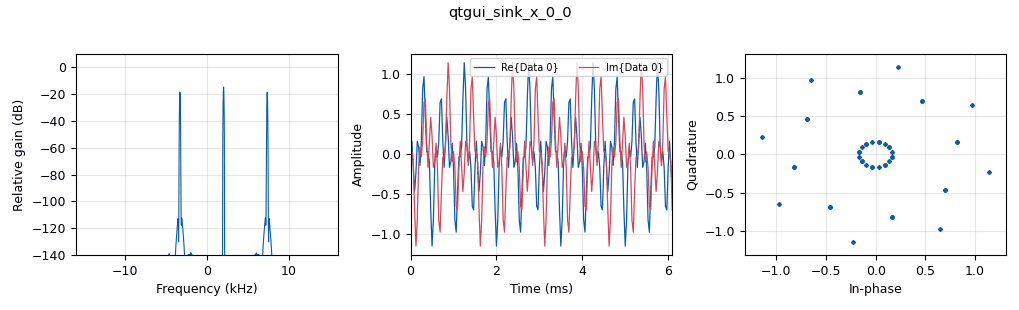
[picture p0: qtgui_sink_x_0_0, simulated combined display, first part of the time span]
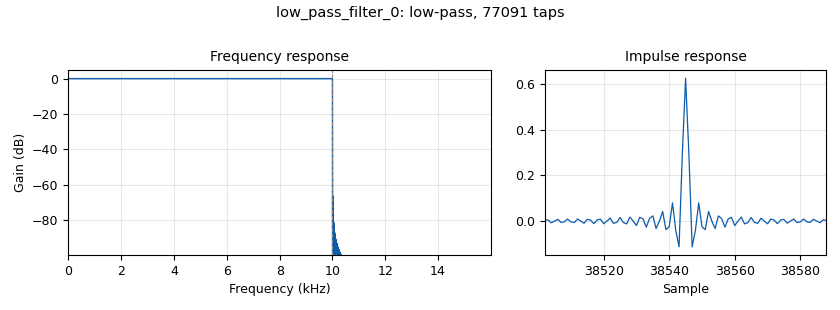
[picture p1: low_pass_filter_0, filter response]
options:
  parameters:
    generate_options: qt_gui
    id: untitled
    output_language: python
    title: Not titled yet
  states: {}

blocks:
- name: samp_rate
  id: variable
  parameters:
    value: '32000'
  states: {}
- name: analog_sig_source_x_1
  id: analog_sig_source_x
  parameters:
    amp: '1'
    freq: '1000'
    offset: '0'
    phase: '0'
    samp_rate: samp_rate
    type: complex
    waveform: analog.GR_COS_WAVE
  states: {}
- name: analog_sig_source_x_1_0
  id: analog_sig_source_x
  parameters:
    amp: '1'
    freq: '1000'
    offset: '0'
    phase: '0'
    samp_rate: samp_rate
    type: complex
    waveform: analog.GR_COS_WAVE
  states: {}
- name: blocks_multiply_xx_0
  id: blocks_multiply_xx
  parameters:
    type: complex
  states: {}
- name: blocks_multiply_xx_0_0
  id: blocks_multiply_xx
  parameters:
    type: complex
  states: {}
- name: blocks_vector_source_x_0
  id: blocks_vector_source_x
  parameters:
    repeat: 'True'
    type: complex
    vector: (1,1,1,0,0,0)
  states: {}
- name: low_pass_filter_0
  id: low_pass_filter
  parameters:
    cutoff_freq: 10e3
    decim: '1'
    gain: '1'
    samp_rate: samp_rate
    type: fir_filter_ccf
    width: '1'
    win: window.WIN_HAMMING
  states: {}
- name: qtgui_sink_x_0_0
  id: qtgui_sink_x
  parameters:
    bw: samp_rate
    fc: '0'
    fftsize: '1024'
    type: complex
  states: {}

connections:
- [analog_sig_source_x_1, '0', blocks_multiply_xx_0, '1']
- [analog_sig_source_x_1_0, '0', blocks_multiply_xx_0_0, '1']
- [blocks_multiply_xx_0, '0', low_pass_filter_0, '0']
- [blocks_multiply_xx_0_0, '0', qtgui_sink_x_0_0, '0']
- [blocks_vector_source_x_0, '0', blocks_multiply_xx_0, '0']
- [low_pass_filter_0, '0', blocks_multiply_xx_0_0, '0']

metadata:
  file_format: 1
  grc_version: 3.10.6.0
